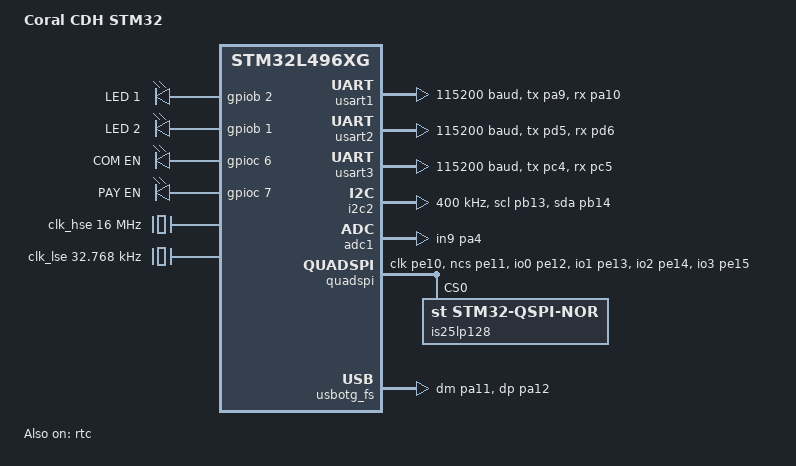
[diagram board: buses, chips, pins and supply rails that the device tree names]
/dts-v1/;

#include <st/l4/stm32l496Xg.dtsi>
/* Using your original package's pinctrl header to ensure pin availability */
#include <st/l4/stm32l496a(e-g)ix-pinctrl.dtsi>
#include <zephyr/dt-bindings/input/input-event-codes.h>

/ {
    model = "Coral CDH STM32";
    compatible = "coral,stm32";

    chosen {
        /* Routing the console and shell over the USB-C Virtual COM Port */
        zephyr,console = &cdc_acm_uart0;
        zephyr,shell-uart = &cdc_acm_uart0;
        zephyr,uart-mcumgr = &cdc_acm_uart0;
        zephyr,sram = &sram0;
        zephyr,flash = &flash0;
    };

    aliases {
        led0 = &led_1;
        led1 = &led_2;
        com-en = &com_en;
        pay-en = &pay_en;
        
        /* Your explicit UART mapping */
        uart-0 = &cdc_acm_uart0;
        uart-1 = &usart1;
        uart-2 = &usart2;
        uart-3 = &usart3;
        watchdog0 = &iwdg;
    };

    /* Merged your LEDs and EN lines */
    leds {
        compatible = "gpio-leds";
        led_1: led_1 {
            gpios = <&gpiob 2 GPIO_ACTIVE_HIGH>;
            label = "LED 1";
        };
        led_2: led_2 {
            gpios = <&gpiob 1 GPIO_ACTIVE_HIGH>;
            label = "LED 2";
        };
        com_en: com_en {
            gpios = <&gpioc 6 GPIO_ACTIVE_HIGH>;
            label = "COM EN";
        };
        pay_en: pay_en {
            gpios = <&gpioc 7 GPIO_ACTIVE_HIGH>;
            label = "PAY EN";
        };
    };
};

/* --- CLOCK TREE --- */
&clk_hse {
    clock-frequency = <DT_FREQ_M(16)>;
    status = "okay";
};

&clk_lse {
    clock-frequency = <32768>;
    status = "okay";
};

&clk_hsi { status = "okay"; };
&clk_lsi { status = "okay"; };
&clk_hsi48 { status = "okay"; };

&pll {
    div-m = <2>;
    mul-n = <20>;
    div-p = <7>;
    div-q = <2>;
    div-r = <2>;
    clocks = <&clk_hse>;
    status = "okay";
};

// &pllsai1 {
//     div-m = <2>;
//     mul-n = <24>;
//     div-q = <4>;
//     clocks = <&clk_hse>;
//     status = "okay";
// };

&rcc {
    clocks = <&pll>;
    clock-frequency = <DT_FREQ_M(80)>;
    ahb-prescaler = <1>;
    apb1-prescaler = <1>;
    apb2-prescaler = <1>;
};

/* --- PERIPHERALS --- */
&usart1 {
    pinctrl-0 = <&usart1_tx_pa9 &usart1_rx_pa10>;
    pinctrl-names = "default";
    current-speed = <115200>;
    status = "okay";
};

&usart2 {
    pinctrl-0 = <&usart2_tx_pd5 &usart2_rx_pd6>;
    pinctrl-names = "default";
    current-speed = <115200>;
    status = "okay";
};

&usart3 {
    pinctrl-0 = <&usart3_tx_pc4 &usart3_rx_pc5>;
    pinctrl-names = "default";
    current-speed = <115200>;
    status = "okay";
};
&i2c2 {
    pinctrl-0 = <&i2c2_scl_pb13 &i2c2_sda_pb14>;
    pinctrl-names = "default";
    clock-frequency = <I2C_BITRATE_FAST>;
    status = "okay";
};

&rtc {
    clocks = <&rcc STM32_CLOCK(APB1, 28)>,
             <&rcc STM32_SRC_LSE RTC_SEL(1)>;
    status = "okay";
};

&adc1 {
    pinctrl-0 = <&adc1_in9_pa4>;
    pinctrl-names = "default";
    st,adc-clock-source = "SYNC";
    st,adc-prescaler = <4>;
    status = "okay";
};

&quadspi {
    pinctrl-0 = <&quadspi_clk_pe10 &quadspi_bk1_ncs_pe11
                 &quadspi_bk1_io0_pe12 &quadspi_bk1_io1_pe13
                 &quadspi_bk1_io2_pe14 &quadspi_bk1_io3_pe15>;
    pinctrl-names = "default";
    flash-id = <1>;
    status = "okay";

    is25lp128: qspi-nor-flash@0 {
        compatible = "st,stm32-qspi-nor";
        reg = <0>;
        size = <DT_SIZE_M(128)>;
        qspi-max-frequency = <40000000>;
        spi-bus-width = <4>;
        jedec-id = [9d 60 18];
        quad-enable-requirements = "S1B6";
        writeoc = "PP_1_1_4";
        status = "okay";
    };
};

/* --- USB VIRTUAL COM PORT --- */
&usbotg_fs {
    clocks = <&rcc STM32_CLOCK(AHB2, 12)>,
            <&rcc STM32_SRC_HSI48 CLK48_SEL(0)>;
    pinctrl-0 = <&usb_otg_fs_dm_pa11 &usb_otg_fs_dp_pa12>;
    pinctrl-names = "default";
    status = "okay";

    cdc_acm_uart0: cdc_acm_uart0 {
        compatible = "zephyr,cdc-acm-uart";
        current-speed = <115200>;
        hw-flow-control;
    };
};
